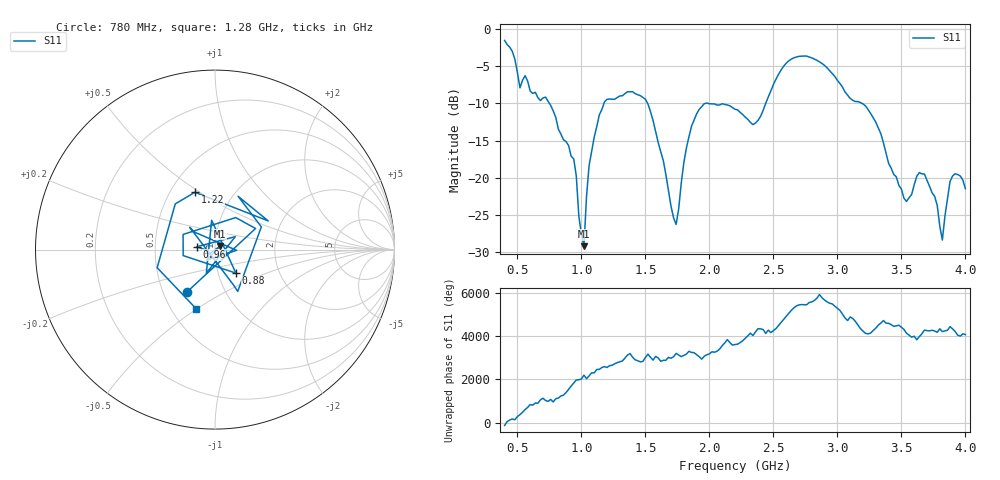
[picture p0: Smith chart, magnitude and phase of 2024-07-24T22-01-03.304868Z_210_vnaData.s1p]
!Created with skrf (http://scikit-rf.org).
# Hz S RI R 50.0
!freq ReS11 ImS11
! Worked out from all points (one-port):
!   181 points, 400 MHz to 4 GHz, reference 50 ohm
!   lowest |S11| = -29.2 dB at 1.02 GHz (marker M1), VSWR 1.07, Z = 52.9 + j2.07 ohm
!   |S11| at or under -10 dB: 1.518 GHz to 1.968 GHz (450.4 MHz wide, 25.8 % of centre); 1.991 GHz to 2.44 GHz (448.8 MHz wide, 20.3 % of centre); 3.193 GHz to end of sweep (the widest 3 of 4)
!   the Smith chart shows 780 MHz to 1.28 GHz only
!   S11 on the Smith chart (normalised r, x): 780 MHz: 0.66, -0.34; 880 MHz: 1.21, -0.33; 960 MHz: 0.81, +0.03; 1.22 GHz: 0.66, +0.48; 1.28 GHz: 0.66, -0.50
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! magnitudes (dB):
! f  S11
! 400 MHz  -1.5
! 520 MHz  -7.9
! 780 MHz  -11.0
! 860 MHz  -14.9
! 880 MHz  -15.1
! 960 MHz  -19.7
! 980 MHz  -25.2
! 1.02 GHz  -29.2
! 1.06 GHz  -18.4
! 1.14 GHz  -11.5
! 1.22 GHz  -9.4
! 1.28 GHz  -9.2
! 1.3 GHz  -9.0
! 1.52 GHz  -10.1
! 1.72 GHz  -25.4
! 1.76 GHz  -24.2
! 1.82 GHz  -16.0
! 1.9 GHz  -11.4
! 2.2 GHz  -10.8
! 2.36 GHz  -12.6
! 2.66 GHz  -3.9
! 3.1 GHz  -9.3
! 3.3 GHz  -12.5
! 3.56 GHz  -22.7
! 3.68 GHz  -19.5
! 3.82 GHz  -28.3
! 3.88 GHz  -20.5
! 4 GHz  -21.4
